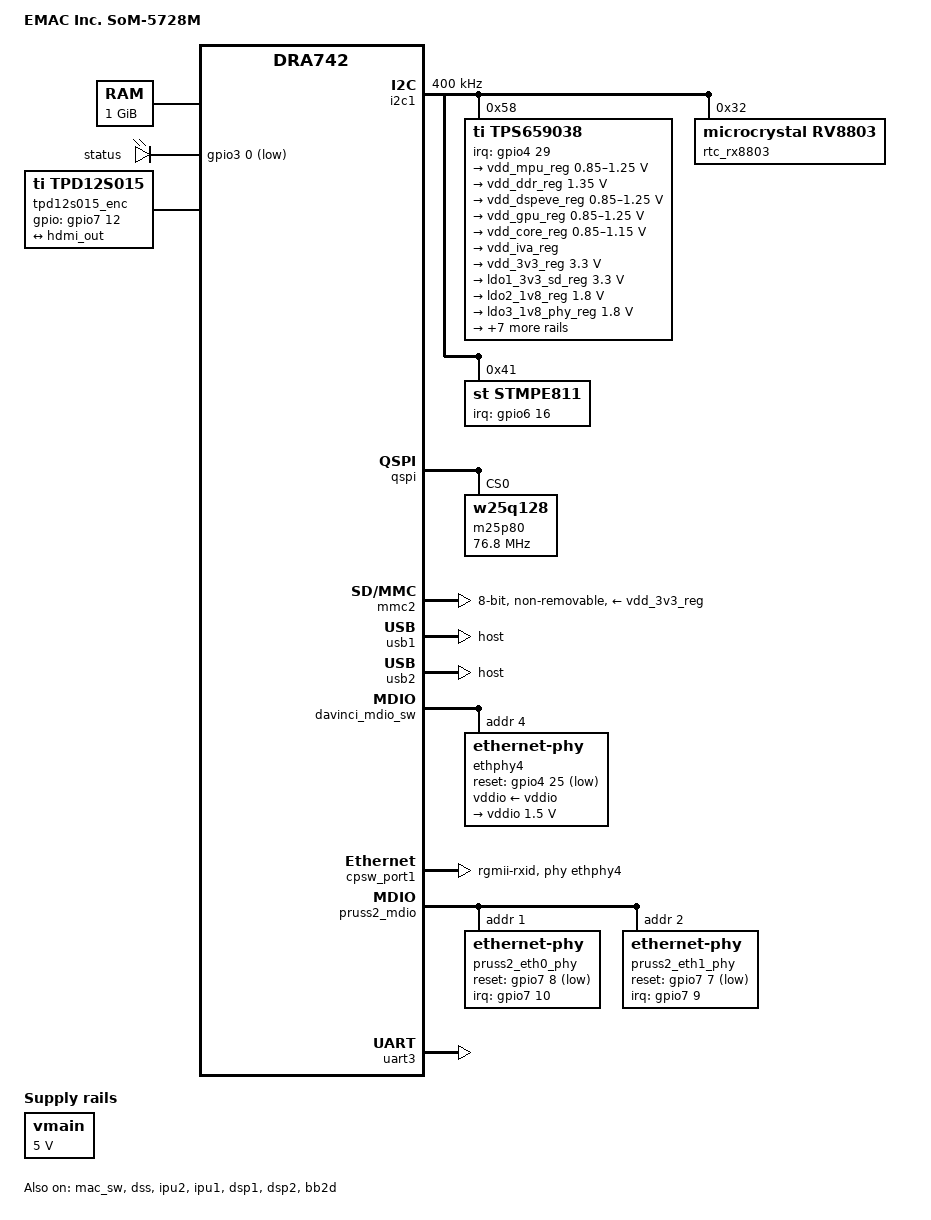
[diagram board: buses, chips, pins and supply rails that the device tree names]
/*
 * Copyright (C) 2023 EMAC Incorporated - http://www.emacinc.com/
 *
 * This program is free software; you can redistribute it and/or modify
 * it under the terms of the GNU General Public License version 2 as
 * published by the Free Software Foundation.
 */
/dts-v1/;

#include "am5728.dtsi"
#include "am57xx-industrial-grade.dtsi"

#include "dra74x-mmc-iodelay.dtsi"

#include "dra74-ipu-dsp-common.dtsi"

#include <dt-bindings/gpio/gpio.h>
#include <dt-bindings/interrupt-controller/irq.h>
#include <dt-bindings/net/qca-ar803x.h>

/ {
	model = "EMAC Inc. SoM-5728M";
	compatible = "emac,som-5728m", "ti,am5728", "ti,dra742", "ti,dra74", "ti,dra7";

	aliases {
		rtc0 = &rtc_rx8803;
		rtc1 = &tps659038_rtc;
		rtc2 = &rtc;
        mmcblk0 = &mmc1;
        mmcblk1 = &mmc2;
		spi1 = &mcspi3;
		spi2 = &mcspi4;
		gpio0 = &gpio1;
		gpio1 = &gpio2;
		gpio2 = &gpio3;
		gpio3 = &gpio4;
		gpio4 = &gpio5;
		gpio5 = &gpio6;
		gpio6 = &gpio7;
		gpio7 = &gpio8;
	};

	chosen {
		stdout-path = &uart3;
	};

	memory@0 {
		device_type = "memory";
		reg = <0x0 0x80000000 0x0 0x40000000>; /* 1GB configuration */
	};

	reserved-memory {
		#address-cells = <2>;
		#size-cells = <2>;
		ranges;

		ipu2_memory_region: ipu2-memory@95800000 {
			compatible = "shared-dma-pool";
			reg = <0x0 0x95800000 0x0 0x3800000>;
			reusable;
			status = "okay";
		};

		dsp1_memory_region: dsp1-memory@99000000 {
			compatible = "shared-dma-pool";
			reg = <0x0 0x99000000 0x0 0x4000000>;
			reusable;
			status = "okay";
		};

		ipu1_memory_region: ipu1-memory@9d000000 {
			compatible = "shared-dma-pool";
			reg = <0x0 0x9d000000 0x0 0x2000000>;
			reusable;
			status = "okay";
		};

		dsp2_memory_region: dsp2-memory@9f000000 {
			compatible = "shared-dma-pool";
			reg = <0x0 0x9f000000 0x0 0x800000>;
			reusable;
			status = "okay";
		};
	};

	vmain: fixedregulator-vmain {
		compatible = "regulator-fixed";
		regulator-name = "VMAIN";
		regulator-min-microvolt = <5000000>;
		regulator-max-microvolt = <5000000>;
		regulator-always-on;
		regulator-boot-on;
	};

	leds {
		compatible = "gpio-leds";
		led0 {
			label = "status";
			gpios = <&gpio3 0 GPIO_ACTIVE_LOW>;
			linux,default-trigger = "heartbeat";
		};
	};

	tpd12s015_enc: encoder {
		compatible = "ti,tpd12s015";
		status = "okay";
		gpios = <0>, /* optional CT_CP_HPD */
			<0>, /* optional LS_OE */
			<&gpio7 12 GPIO_ACTIVE_HIGH>;	/* HPD */
		ports {
			#address-cells = <1>;
			#size-cells = <0>;

			port@0 {
				reg = <0>;

				tpd12s015_in: endpoint {
					remote-endpoint = <&hdmi_out>;
				};
			};

			port@1 {
				reg = <1>;

				tpd12s015_out: endpoint {
					remote-endpoint = <0>;
				};
			};
		};
	};

	/* Dual-MAC Ethernet application node on PRU-ICSS2 */
	pruss2_dual_eth: pruss2_eth {
		compatible = "ti,am57-prueth";
		ti,prus = <&pru2_0>, <&pru2_1>;
		sram = <&ocmcram1>;
		mii-rt = <&pruss2_mii_rt>;
		iep = <&pruss2_iep>;
		interrupts = <20 2 2>, <21 3 3>;
		interrupt-names = "rx_lre_hp", "rx_lre_lp";
		interrupt-parent = <&pruss2_intc>;
		status = "disabled";

		pruss2_emac0: ethernet-mii0 {
			phy-handle = <&pruss2_eth0_phy>;
			phy-mode = "mii";
			interrupts = <20 2 2>, <26 6 6>;
			interrupt-names = "rx", "emac_ptp_tx";
			ti,no-half-duplex;
			/* Filled in by bootloader */
			local-mac-address = [00 00 00 00 00 00];
			status = "disabled";
		};

		pruss2_emac1: ethernet-mii1 {
			phy-handle = <&pruss2_eth1_phy>;
			phy-mode = "mii";
			interrupts = <21 3 3>, <27 9 7>;
			interrupt-names = "rx", "emac_ptp_tx";
			ti,no-half-duplex;
			/* Filled in by bootloader */
			local-mac-address = [00 00 00 00 00 00];
			status = "disabled";
		};
	};
};

&pruss2_iep {
	interrupt-parent = <&pruss2_intc>;
	interrupts = <7 7 8>;
	interrupt-names = "iep_cap_cmp";
};

&cpu0 {
	vdd-supply = <&vdd_mpu_reg>;
	voltage-tolerance = <1>;
	clock-frequency = <1000000000>;
};

&cpu_trips {
	cpu_alert1: cpu_alert1 {
		temperature = <50000>; /* millicelsius */
		hysteresis = <2000>; /* millicelsius */
		type = "active";
	};
};

/*
 * i2c
 */
&i2c1 {
	status = "okay";
	clock-frequency = <400000>;
	tps659038: tps659038@58 {
		compatible = "ti,tps659038";
		reg = <0x58>;
		interrupt-parent = <&gpio4>;
		interrupts = <29 IRQ_TYPE_LEVEL_LOW>;
		#interrupt-cells = <2>;
		interrupt-controller;

		ti,palmas-override-powerhold;
		ti,system-power-controller;

		tps659038_pmic {
			compatible = "ti,tps659038-pmic";
			smps12-in-supply = <&vmain>;
			smps3-in-supply = <&vmain>;
			smps45-in-supply = <&vmain>;
			smps6-in-supply = <&vmain>;
			smps7-in-supply = <&vmain>;
			smps8-in-supply = <&vmain>;
			smps9-in-supply = <&vmain>;
			ldo1-in-supply = <&vmain>;
			ldo2-in-supply = <&vmain>;
			ldo3-in-supply = <&vmain>;
			ldo4-in-supply = <&vmain>;
			ldo9-in-supply = <&vmain>;
			ldoln-in-supply = <&vmain>;
			ldousb-in-supply = <&vmain>;
			ldortc-in-supply = <&vmain>;

			regulators {
				vdd_mpu_reg: smps12 {
					regulator-name = "smps12";
					regulator-min-microvolt = < 850000>;
					regulator-max-microvolt = <1250000>;
					regulator-always-on;
					regulator-boot-on;
				};

				vdd_ddr_reg: smps3 {
					/* VDD_DDR */
					regulator-name = "smps3";
					regulator-min-microvolt = <1350000>;
					regulator-max-microvolt = <1350000>;
					regulator-always-on;
					regulator-boot-on;
				};

				vdd_dspeve_reg: smps45 {
					/* VDD_DSPEVE */
					regulator-name = "smps45";
					regulator-min-microvolt = < 850000>;
					regulator-max-microvolt = <1250000>;
					regulator-always-on;
					regulator-boot-on;
				};

				vdd_gpu_reg: smps6 {
					/* VDD_GPU */
					regulator-name = "smps6";
					regulator-min-microvolt = <850000>;
					regulator-max-microvolt = <1250000>;
					regulator-always-on;
					regulator-boot-on;
				};

				vdd_core_reg: smps7 {
					/* VDD_CORE */
					regulator-name = "smps7";
					regulator-min-microvolt = <850000>;
					regulator-max-microvolt = <1150000>;
					regulator-always-on;
					regulator-boot-on;
				};

				vdd_iva_reg: smps8 {
					/* VDD_IVA */
					regulator-name = "smps8";
					//regulator-min-microvolt = <1800000>;
					//regulator-max-microvolt = <1800000>;
					//regulator-always-on;
					//regulator-boot-on;
				};

				vdd_3v3_reg: smps9 {
					/* VDD_3V3 */
					regulator-name = "smps9";
					regulator-min-microvolt = <3300000>;
					regulator-max-microvolt = <3300000>;
					regulator-always-on;
					regulator-boot-on;
				};

				ldo1_3v3_sd_reg: ldo1 {
					/* VDD_SD / VDDSHV8  */
					regulator-name = "ldo1";
					regulator-min-microvolt = <3300000>;
					regulator-max-microvolt = <3300000>;
					regulator-boot-on;
					regulator-always-on;
				};

				ldo2_1v8_reg: ldo2 {
					/* VDD_SHV5 */
					regulator-name = "ldo2";
					regulator-min-microvolt = <1800000>;
					regulator-max-microvolt = <1800000>;
					regulator-always-on;
					regulator-boot-on;
				};

				ldo3_1v8_phy_reg: ldo3 {
					/* VDDA_1V8_PHYA */
					regulator-name = "ldo3";
					regulator-min-microvolt = <1800000>;
					regulator-max-microvolt = <1800000>;
					regulator-always-on;
					regulator-boot-on;
				};

				ldo4_1v8_phy_reg: ldo4 {
					/* VDDA_1V8_PHYB */
					regulator-name = "ldo4";
					regulator-min-microvolt = <1800000>;
					regulator-max-microvolt = <1800000>;
					regulator-always-on;
					regulator-boot-on;
				};

				ldo9_rtc_reg: ldo9 {
					/* VDD_RTC */
					regulator-name = "ldo9";
					regulator-min-microvolt = <840000>;
					regulator-max-microvolt = <1160000>;
					regulator-always-on;
					regulator-boot-on;
				};

				ldoln_1v8_pll_reg: ldoln {
					/* VDDA_1V8_PLL */
					regulator-name = "ldoln";
					regulator-min-microvolt = <1800000>;
					regulator-max-microvolt = <1800000>;
					regulator-always-on;
					regulator-boot-on;
				};

				ldousb_3v3_reg: ldousb {
					/* VDDA_3V_USB: VDDA_USBHS33 */
					regulator-name = "ldousb";
					regulator-min-microvolt = <3300000>;
					regulator-max-microvolt = <3300000>;
					regulator-boot-on;
				};
				
				ldortc_1v8_reg: ldortc {
					/* VDDA_RTC  */
					regulator-name = "ldortc";
					regulator-min-microvolt = <1800000>;
					regulator-max-microvolt = <1800000>;
					regulator-always-on;
					regulator-boot-on;
				};

				/* unused */
				regen1: regen1 {
					/* VDD_3V3_ON */
					regulator-name = "regen1";
					regulator-boot-on;
					regulator-always-on;
				};
				/* unused */
				regen2: regen2 {
					/* Needed for PMIC internal resource */
					regulator-name = "regen2";
					regulator-boot-on;
					regulator-always-on;
				};
			};
		};

		tps659038_rtc: tps659038_rtc {
			compatible = "ti,palmas-rtc";
			interrupt-parent = <&tps659038>;
			interrupts = <8 IRQ_TYPE_EDGE_FALLING>;
			wakeup-source;
		};

		tps659038_pwr_button: tps659038_pwr_button {
			compatible = "ti,palmas-pwrbutton";
			interrupt-parent = <&tps659038>;
			interrupts = <1 IRQ_TYPE_EDGE_FALLING>;
			wakeup-source;
			ti,palmas-long-press-seconds = <12>;
		};        
	};
	
	rtc_rx8803: rtc@32 {
		status = "okay";
		compatible = "microcrystal,rv8803";
		reg = <0x32>;
	};

	/* STMPE811 touch screen controller */
	stmpe811@41 {
		compatible = "st,stmpe811";
		reg = <0x41>;
		interrupt-parent = <&gpio6>;
		interrupts = <16 IRQ_TYPE_LEVEL_LOW>;
		interrupt-controller;
		irq-gpio = <&gpio6 16 IRQ_TYPE_LEVEL_LOW>;
		id = <0>;
		blocks = <0x5>;
		irq-trigger = <0x1>;
		st,mod-12b = <1>; /* 12-bit ADC */
		st,ref-sel = <0>; /* internal ADC reference */
		st,adc-freq = <1>; /* 3.25 MHz ADC clock speed */
		st,sample-time = <4>; /* ADC converstion time: 80 clocks */

		stmpe_adc {
			compatible = "st,stmpe-adc";
			/* forbid to use ADC channels 3-0 (touch) */
			st,norequest-mask = <0x0F>;
		};

		touch: stmpe_touchscreen {
			status = "disabled";
			compatible = "st,stmpe-ts";
			/* 8 sample average control */
			st,ave-ctrl = <3>;
			/* 7 length fractional part in z */
			st,fraction-z = <7>;
			/*
			 * 50 mA typical 80 mA max touchscreen drivers
			 * current limit value
			 */
			st,i-drive = <1>;
			/* 1 ms panel driver settling time */
			st,settling = <3>;
			/* 5 ms touch detect interrupt delay */
			st,touch-det-delay = <5>;
		};
	};
};

&qspi {
	status = "okay";
	spi-max-frequency = <76800000>;
	m25p80@0 {
		compatible = "w25q128", "jedec,spi-nor";
		spi-max-frequency = <76800000>;
		reg = <0>;
		spi-tx-bus-width = <1>;
		spi-rx-bus-width = <1>;
		#address-cells = <1>;
		#size-cells = <1>;
		wp-gpios = <0>;
    };
};

&mcspi3 {
	status = "disabled";
	/* CS0 - native (vout1_clk) 
	 * CS1 - native (vout1_fld) 
	 * CS2 - native (vout1_d0) 
	 */
	cs-gpios = <&gpio4 19 GPIO_ACTIVE_LOW>,
		<&gpio4 21 GPIO_ACTIVE_LOW>,
		<&gpio8 0 GPIO_ACTIVE_LOW>;
	num-cs = <3>;
};

&mcspi4 {
	status = "disabled";
	/* CS0 - native (vin2a_d1) 
	 * CS1 - native (gpmc_a12) 
	 * CS2 - nc
	 * CS3 - native (gpmc_a14) 
	 */
	cs-gpios = <&gpio4 2 GPIO_ACTIVE_LOW>,
		<&gpio2 2 GPIO_ACTIVE_LOW>,
		<0>,
		<&gpio2 4 GPIO_ACTIVE_LOW>;
	num-cs = <4>;

	no-device@2 {/* Do Not Use */};
};

&mmc1 {
    status = "disabled";
    bus-width = <4>;
    vmmc-supply = <&vdd_3v3_reg>;
    vqmmc-supply = <&ldo1_3v3_sd_reg>;
    max-frequency = <48000000>;
    no-1-8-v;

    pinctrl-names = "default", "hs";
	pinctrl-0 = <&mmc1_pins_default>;
	pinctrl-1 = <&mmc1_pins_hs>;
};


&mmc2 {
    status = "okay";
    vmmc-supply = <&vdd_3v3_reg>;
    vqmmc-supply = <&vdd_3v3_reg>;
    bus-width = <8>;
    non-removable;
	disable-wp;
    max-frequency = <96000000>;
	no-1-8-v;
    
	pinctrl-names = "default", "hs", "ddr_3_3v";
	pinctrl-0 = <&mmc2_pins_default>;
	pinctrl-1 = <&mmc2_pins_hs>;
	pinctrl-2 = <&mmc2_pins_default>;
};

&mmc4 {
    status = "disabled";
    bus-width = <4>;
    vmmc-supply = <&vdd_3v3_reg>;
    vqmmc-supply = <&ldo1_3v3_sd_reg>;
    max-frequency = <48000000>;
    no-1-8-v;

    pinctrl-names = "default", "hs";
	pinctrl-0 = <&mmc4_pins_default &mmc4_iodelay_ds_rev20_conf>;
	pinctrl-1 = <&mmc4_pins_hs &mmc4_iodelay_sdr12_hs_sdr25_rev20_conf>;
};

// usb3.x interface
&usb1 { 
	dr_mode = "host";
};

// usb2.x interface
&usb2 { 
	dr_mode = "host";
};

&mac_sw {
    slaves = <1>;
    status = "okay";
};

&davinci_mdio_sw {
    ethphy4: ethernet-phy@4 {
        reg = <4>;
		reset-gpios = <&gpio4 25 GPIO_ACTIVE_LOW>;
		reset-assert-us = <500000>;
		qca,clk-out-frequency = <50000000>;
		qca,keep-pll-enabled;
		vddio-supply = <&vddio>;
		vddio: vddio-regulator {
			regulator-min-microvolt = <1500000>;
			regulator-max-microvolt = <1500000>;
		};
    };
};

/* The phy-mode must be rgmii-rxid for the AR8031 */
&cpsw_port1 {
    phy-handle = <&ethphy4>;
    phy-mode = "rgmii-rxid";
    ti,dual-emac-pvid = <1>;
};

&cpsw_port2 {
    status = "disabled";
};

&usb2_phy1 {
	phy-supply = <&ldousb_3v3_reg>;
};

&usb2_phy2 {
	phy-supply = <&ldousb_3v3_reg>;
};

&dss {
	status = "okay";
	vdda_video-supply = <&ldoln_1v8_pll_reg>;
	ports {
		#address-cells = <1>;
		#size-cells = <0>;
		port@2 {
			reg = <2>;
			lvds_out: endpoint {
				data-lines = <18>;
				status = "disabled";
			};
		};
	};
};

&hdmi {
	status = "disabled";
	vdda-supply = <&ldo4_1v8_phy_reg>;

	port {
		hdmi_out: endpoint {
			remote-endpoint = <&tpd12s015_in>;
		};
	};
};

&dra7_pmx_core {
	dcan1_pins_default: dcan1_pins_default {  
		pinctrl-single,pins = <
			DRA7XX_CORE_IOPAD(0x37d4, PIN_INPUT | MUX_MODE15) 	/* (Errata i893) dcan1_rx.dcan1_rx */
			DRA7XX_CORE_IOPAD(0x37d0, PIN_OUTPUT | MUX_MODE0) 	/* dcan1_tx.dcan1_tx */
		>;
	};

	dcan2_pins_default: dcan2_pins_default {
		pinctrl-single,pins = <
			DRA7XX_CORE_IOPAD(0x368c, PIN_INPUT | MUX_MODE15) 	/* (Errata i893) gpio6_15.dcan2_rx */
			DRA7XX_CORE_IOPAD(0x3688, PIN_OUTPUT | MUX_MODE2) 	/* gpio6_14.dcan2_tx */
		>;
	};
};

&pruss2_mdio {
	status = "okay";
	pruss2_eth0_phy: ethernet-phy@1 {
		reg = <1>;
		interrupt-parent = <&gpio7>;
		interrupts = <10 IRQ_TYPE_EDGE_FALLING>;
		reset-gpios = <&gpio7 8 GPIO_ACTIVE_LOW>;
		reset-assert-us = <10000>;
	};

	pruss2_eth1_phy: ethernet-phy@2 {
		reg = <2>;
		interrupt-parent = <&gpio7>;
		interrupts = <9 IRQ_TYPE_EDGE_FALLING>;
		reset-gpios = <&gpio7 7 GPIO_ACTIVE_LOW>;
		reset-assert-us = <10000>;
	};
};

&ipu2 {
	status = "okay";
	memory-region = <&ipu2_memory_region>;
};

&ipu1 {
	status = "okay";
	memory-region = <&ipu1_memory_region>;
};

&dsp1 {
	status = "okay";
	memory-region = <&dsp1_memory_region>;
};

&dsp2 {
	status = "okay";
	memory-region = <&dsp2_memory_region>;
};

&bb2d {
	status = "okay";
};

/*
 * Can
 */
&dcan1 {
    status = "disabled";
    pinctrl-names = "default";
    pinctrl-0 = <&dcan1_pins_default>;
};

&dcan2 {
    status = "disabled";
    pinctrl-names = "default";
    pinctrl-0 = <&dcan2_pins_default>;
};

/*
 * UART
 */

&uart1 {
	status = "disabled";
};

&uart2 {
	status = "disabled";
};

// console
&uart3 {
	status = "okay";
	uart-has-rtscts;
	interrupts-extended = <&crossbar_mpu GIC_SPI 69 IRQ_TYPE_LEVEL_HIGH>, <&dra7_pmx_core 0x3f8>;
};

&uart5 {
	uart-has-rtscts;
};
&uart6 {
	uart-has-rtscts;
};
&uart7 {
	uart-has-rtscts;
};

&mcasp5 {
    #sound-dai-cells = <0>;
    assigned-clocks = <&l4per_clkctrl DRA7_MCASP5_CLKCTRL 24>;
    assigned-clock-parents = <&sys_clkin2>;
    op-mode = <0>;	
    tdm-slots = <2>;
    serial-dir = < 1 2 0 0 >;
    tx-num-evt = <32>;
    rx-num-evt = <32>;
};

&mcasp8 {
    #sound-dai-cells = <0>;
    assigned-clocks = <&l4per_clkctrl DRA7_MCASP8_CLKCTRL 24>;
    assigned-clock-parents = <&sys_clkin2>;
    op-mode = <0>;	
    tdm-slots = <2>;
    serial-dir = < 1 2 0 0 >;
    tx-num-evt = <32>;
    rx-num-evt = <32>;
};

&epwmss0 {
	eqep0: counter@180 {
		compatible = "ti,dra746-eqep", 
				 "ti,am3352-eqep";
		reg = <0x180 0x80>;
		clocks = <&l4_root_clk_div>;
		clock-names = "sysclkout";
		interrupts = <210>;
		status = "disabled";
	};
};

&epwmss1 {
	eqep1: counter@180 {
		compatible = "ti,dra746-eqep", 
				 "ti,am3352-eqep";
		reg = <0x180 0x80>;
		clocks = <&l4_root_clk_div>;
		clock-names = "sysclkout";
		interrupts = <211>;
		status = "disabled";
	};
};

&epwmss2 {
	eqep2: counter@180 {
		compatible = "ti,dra746-eqep", 
				 "ti,am3352-eqep";
		reg = <0x180 0x80>;
		clocks = <&l4_root_clk_div>;
		clock-names = "sysclkout";
		interrupts = <212>;
		status = "disabled";
	};
};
